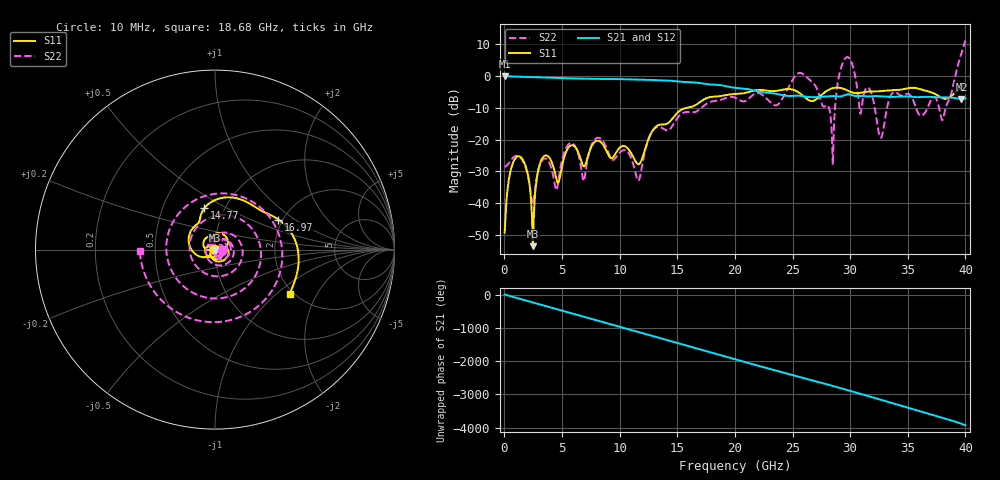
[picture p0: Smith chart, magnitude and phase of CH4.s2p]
!Keysight Technologies,N5245B,MY57181346,A.13.60.06
!Automatic Fixture Removal (AFR)
!Date: Thursday, August 08, 2019, 03:54:22
!S2P File: Measurements: S11,S21,S12,S22:
# MHz S  DB  R 50
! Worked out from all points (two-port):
!   4000 points, 10 MHz to 40 GHz, reference 50 ohm
!   highest |S21| = -0.01 dB at 10 MHz (marker M1); lowest = -7.2 dB at 39.66 GHz (marker M2)
!   |S21| within 3 dB of the highest: start of sweep to 19.02 GHz
!   lowest |S11| = -53.6 dB at 2.46 GHz (marker M3), VSWR 1.00, Z = 49.9 - j0.161 ohm
!   |S11| at or under -10 dB: start of sweep to 15.76 GHz
!   |S22| runs from -40.4 to 11.3 dB; largest |S21 - S12| = 1.7e-14
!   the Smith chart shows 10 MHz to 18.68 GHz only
!   S11 on the Smith chart (normalised r, x): 10 MHz: 0.99, +0.00; 14.77 GHz: 0.80, +0.39; 16.97 GHz: 1.90, +0.75; 18.68 GHz: 1.90, -1.23
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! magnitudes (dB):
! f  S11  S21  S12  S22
! 10 MHz  -49.3  0.0  0.0  -28.5
! 1.16 GHz  -25.3  -0.2  -0.2  -25.1
! 2.46 GHz  -53.6  -0.3  -0.3  -40.3
! 3.38 GHz  -25.4  -0.4  -0.4  -26.1
! 4.51 GHz  -32.6  -0.5  -0.5  -35.9
! 5.85 GHz  -21.8  -0.7  -0.7  -21.1
! 6.68 GHz  -27.0  -0.8  -0.8  -29.7
! 8.18 GHz  -20.4  -0.9  -0.9  -19.4
! 11.62 GHz  -27.8  -1.0  -1.0  -33.0
! 13.34 GHz  -15.5  -1.3  -1.3  -16.0
! 14.77 GHz  -12.5  -1.6  -1.6  -14.5
! 16.97 GHz  -8.2  -2.2  -2.2  -10.3
! 18.68 GHz  -6.3  -2.8  -2.8  -7.6
! 20.01 GHz  -5.6  -3.7  -3.7  -6.8
! 26.67 GHz  -7.8  -6.6  -6.6  -1.8
! 28.45 GHz  -3.8  -6.3  -6.3  -22.4
! 29.67 GHz  -4.3  -5.8  -5.8  5.9
! 32.62 GHz  -4.7  -6.3  -6.3  -19.3
! 33.34 GHz  -4.5  -6.5  -6.5  -7.9
! 38.02 GHz  -7.0  -6.7  -6.7  -13.7
! 39.66 GHz  -3.5  -7.2  -7.2  7.2
! 40 GHz  -2.7  -6.9  -6.9  11.3
